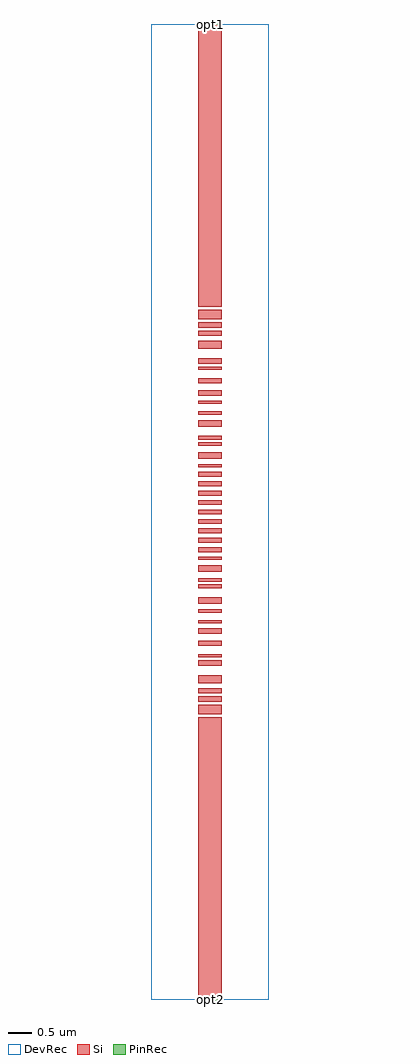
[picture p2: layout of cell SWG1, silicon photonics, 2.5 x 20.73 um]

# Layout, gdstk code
import gdstk
lib = gdstk.Library(unit=1e-6, precision=1e-09)
def R(c, l, rs):  # rectangles x0, y0, x1, y1
    for r in rs: c.add(gdstk.rectangle(r[:2], r[2:], *l))
def A(c, l, x, y, w, h, nx, ny, dx, dy):  # array of equal rectangles
    R(c, l, [(x+i*dx, y+j*dy, x+i*dx+w, y+j*dy+h) for i in range(nx) for j in range(ny)])
Si = (1, 0)
PinRec = (1, 10)
DevRec = (68, 0)

swg1 = lib.new_cell('SWG1')
A(swg1, Si, 0, 9.506, 0.5, 0.1, 1, 9, 0, 0.2)
R(swg1, Si, [(0,0,0.5,6), (0,6.06,0.5,6.265), (0,6.325,0.5,6.442), (0,6.502,0.5,6.615), (0,6.716,0.5,6.888), (0,7.088,0.5,7.207), (0,7.272,0.5,7.332), (0,7.517,0.5,7.617), (0,7.774,0.5,7.883), (0,7.997,0.5,8.057), (0,8.219,0.5,8.286), (0,8.404,0.5,8.544), (0,8.741,0.5,8.816), (0,8.876,0.5,8.946), (0,9.09,0.5,9.228), (0,9.346,0.5,9.406), (0,11.306,0.5,11.366), (0,11.484,0.5,11.622), (0,11.766,0.5,11.836), (0,11.896,0.5,11.971), (0,12.168,0.5,12.308), (0,12.426,0.5,12.493), (0,12.655,0.5,12.715), (0,12.829,0.5,12.938), (0,13.095,0.5,13.195), (0,13.38,0.5,13.44), (0,13.505,0.5,13.624), (0,13.824,0.5,13.996), (0,14.097,0.5,14.21), (0,14.27,0.5,14.387), (0,14.447,0.5,14.652), (0,14.712,0.5,20.712)])
R(swg1, DevRec, [(-1,0,1.5,20.712)])
swg1.add(gdstk.FlexPath([(0.25,20.702),(0.25,20.722)], 0.5, ends="flush", simple_path=True, layer=1, datatype=10))  # PinRec
swg1.add(gdstk.FlexPath([(0.25,0.01),(0.25,-0.01)], 0.5, ends="flush", simple_path=True, layer=1, datatype=10))  # PinRec
swg1.add(gdstk.Label('opt1', (0.25,20.712), layer=1, texttype=10))
swg1.add(gdstk.Label('opt2', (0.25,0), layer=1, texttype=10))

lib.write_gds('SWG1.gds')
